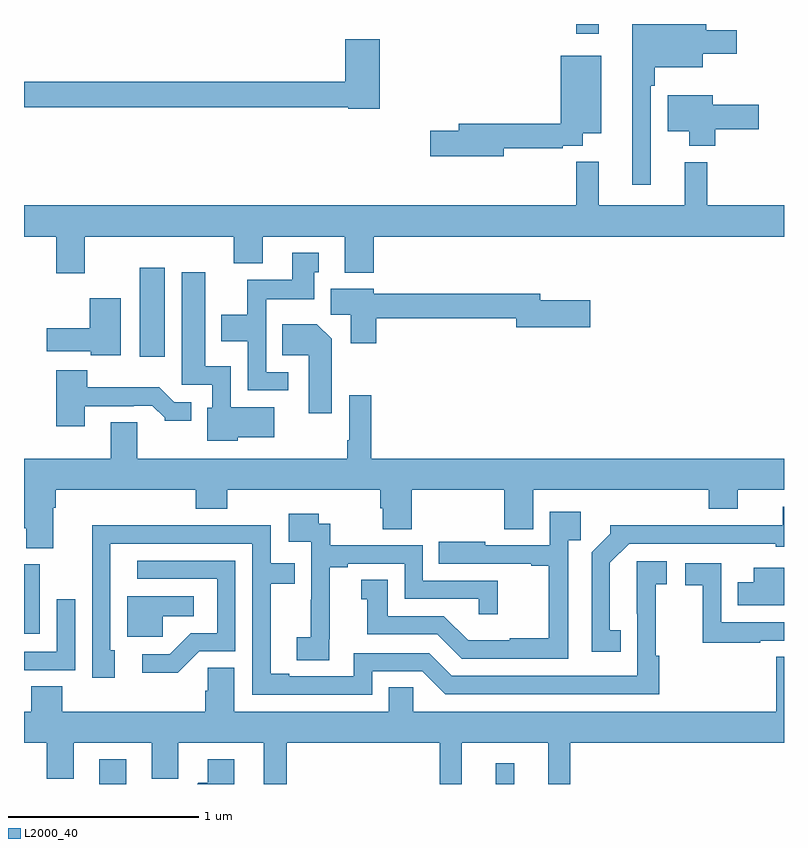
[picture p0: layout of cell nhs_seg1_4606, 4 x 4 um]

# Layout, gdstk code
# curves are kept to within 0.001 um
import gdstk
lib = gdstk.Library(unit=1e-6, precision=1e-09)
def R(c, l, rs):  # rectangles x0, y0, x1, y1
    for r in rs: c.add(gdstk.rectangle(r[:2], r[2:], *l))
def P(c, l, *ps):  # polygons
    for p in ps: c.add(gdstk.Polygon(p, *l))
L2000_40 = (2000, 40)

nhs_seg1_4606 = lib.new_cell('nhs_seg1_4606')
R(nhs_seg1_4606, L2000_40, [(361.397,534.199,361.537,534.328), (363.483,534.199,363.58,534.307), (361,534.989,361.084,535.356), (361.61,536.448,361.741,536.917), (363.907,538.149,364.024,538.199)])
P(nhs_seg1_4606, L2000_40, [(364.299,537.875),(364.319,537.875),(364.319,537.971),(364.573,537.971),(364.573,538.043),(364.75,538.043),(364.75,538.165),(364.592,538.165),(364.592,538.199),(364.202,538.199),(364.202,537.354),(364.299,537.354)],
  [(362.873,538.12),(362.69,538.12),(362.69,537.896),(361,537.896),(361,537.76),(362.706,537.76),(362.706,537.752),(362.873,537.752)],
  [(363.526,537.546),(363.836,537.546),(363.836,537.558),(363.94,537.558),(363.94,537.623),(364.039,537.623),(364.039,538.033),(363.824,538.033),(363.824,537.674),(363.287,537.674),(363.287,537.638),(363.138,537.638),(363.138,537.503),(363.526,537.503)],
  [(364.637,537.646),(364.867,537.646),(364.867,537.775),(364.624,537.775),(364.624,537.823),(364.388,537.823),(364.388,537.635),(364.502,537.635),(364.502,537.557),(364.637,537.557)],
  [(361.321,537.08),(362.105,537.08),(362.105,536.939),(362.257,536.939),(362.257,537.08),(362.687,537.08),(362.687,536.891),(362.84,536.891),(362.84,537.08),(365,537.08),(365,537.244),(364.595,537.244),(364.595,537.472),(364.478,537.472),(364.478,537.244),(364.025,537.244),(364.025,537.473),(363.907,537.473),(363.907,537.244),(361,537.244),(361,537.08),(361.169,537.08),(361.169,536.886),(361.321,536.886)],
  [(362.392,536.367),(362.274,536.367),(362.274,536.75),(362.527,536.75),(362.527,536.892),(362.551,536.892),(362.551,536.995),(362.411,536.995),(362.411,536.854),(362.176,536.854),(362.176,536.668),(362.039,536.668),(362.039,536.528),(362.178,536.528),(362.178,536.271),(362.392,536.271)],
  [(362.124,536.024),(362.317,536.024),(362.317,536.182),(362.088,536.182),(362.088,536.398),(361.954,536.398),(361.954,536.893),(361.829,536.893),(361.829,536.301),(361.992,536.301),(361.992,536.178),(361.964,536.178),(361.964,536.006),(362.124,536.006)],
  [(362.855,536.65),(363.59,536.65),(363.59,536.603),(363.979,536.603),(363.979,536.745),(363.718,536.745),(363.718,536.779),(362.842,536.779),(362.842,536.806),(362.615,536.806),(362.615,536.668),(362.72,536.668),(362.72,536.52),(362.855,536.52)],
  [(361.51,536.755),(361.346,536.755),(361.346,536.599),(361.119,536.599),(361.119,536.477),(361.35,536.477),(361.35,536.456),(361.51,536.456)],
  [(362.62,536.542),(362.542,536.62),(362.359,536.62),(362.359,536.456),(362.498,536.456),(362.498,536.151),(362.62,536.151)],
  [(361.321,536.187),(361.577,536.187),(361.577,536.19),(361.676,536.19),(361.74,536.126),(361.74,536.111),(361.879,536.111),(361.879,536.208),(361.791,536.208),(361.713,536.287),(361.334,536.287),(361.334,536.377),(361.169,536.377),(361.169,536.082),(361.321,536.082)],
  [(361.153,535.652),(361.166,535.652),(361.166,535.748),(361.904,535.748),(361.904,535.649),(362.069,535.649),(362.069,535.748),(362.876,535.748),(362.876,535.65),(362.888,535.65),(362.888,535.54),(363.041,535.54),(363.041,535.748),(363.527,535.748),(363.527,535.54),(363.679,535.54),(363.679,535.748),(364.604,535.748),(364.604,535.649),(364.756,535.649),(364.756,535.748),(365,535.748),(365,535.912),(362.828,535.912),(362.828,536.245),(362.712,536.245),(362.712,536.008),(362.7,536.008),(362.7,535.912),(361.597,535.912),(361.597,536.102),(361.457,536.102),(361.457,535.912),(361,535.912),(361,535.748),(361.001,535.748),(361.001,535.546),(361.013,535.546),(361.013,535.441),(361.153,535.441)],
  [(364.142,535.007),(364.084,535.007),(364.084,535.363),(364.185,535.464),(364.956,535.464),(364.956,535.448),(365,535.448),(365,535.659),(364.993,535.659),(364.993,535.56),(364.52,535.56),(364.52,535.562),(364.086,535.562),(364.086,535.517),(363.987,535.418),(363.987,534.894),(364.142,534.894)],
  [(363.864,535.481),(363.929,535.481),(363.929,535.633),(363.768,535.633),(363.768,535.455),(363.427,535.455),(363.427,535.474),(363.184,535.474),(363.184,535.359),(363.671,535.359),(363.671,535.347),(363.763,535.347),(363.763,534.967),(363.557,534.967),(363.557,534.955),(363.338,534.955),(363.21,535.083),(362.914,535.083),(362.914,535.274),(362.774,535.274),(362.774,535.171),(362.807,535.171),(362.807,534.987),(363.174,534.987),(363.303,534.858),(363.864,534.858)],
  [(362.606,534.961),(362.608,534.961),(362.608,535.339),(362.704,535.339),(362.704,535.359),(363.003,535.359),(363.003,535.173),(363.393,535.173),(363.393,535.092),(363.494,535.092),(363.494,535.269),(363.099,535.269),(363.099,535.455),(362.612,535.455),(362.612,535.569),(362.55,535.569),(362.55,535.621),(362.394,535.621),(362.394,535.473),(362.511,535.473),(362.511,535.169),(362.51,535.169),(362.51,534.972),(362.436,534.972),(362.436,534.85),(362.606,534.85)],
  [(362.832,534.792),(363.096,534.792),(363.216,534.672),(364.343,534.672),(364.343,534.875),(364.326,534.875),(364.326,535.251),(364.384,535.251),(364.384,535.372),(364.226,535.372),(364.227,534.768),(363.252,534.768),(363.132,534.888),(362.736,534.888),(362.736,534.765),(362.395,534.765),(362.395,534.78),(362.299,534.78),(362.299,535.254),(362.426,535.254),(362.426,535.362),(362.298,535.362),(362.298,535.56),(361.82,535.56),(361.82,535.562),(361.358,535.562),(361.359,534.759),(361.477,534.759),(361.477,534.903),(361.455,534.903),(361.455,535.464),(362.202,535.464),(362.202,534.669),(362.832,534.669)],
  [(361.923,534.897),(362.112,534.897),(362.112,535.374),(361.596,535.374),(361.596,535.278),(362.016,535.278),(362.016,534.993),(361.878,534.993),(361.767,534.882),(361.623,534.882),(361.623,534.785),(361.81,534.785)],
  [(364.874,534.954),(365,534.954),(365,535.05),(364.671,535.05),(364.671,535.362),(364.479,535.362),(364.479,535.246),(364.573,535.246),(364.573,534.942),(364.874,534.942)],
  [(365,535.336),(364.841,535.336),(364.841,535.261),(364.756,535.261),(364.756,535.139),(365,535.139)],
  [(361.731,535.082),(361.894,535.082),(361.894,535.186),(361.544,535.186),(361.544,534.975),(361.731,534.975)],
  [(361.269,535.171),(361.173,535.171),(361.173,534.894),(361,534.894),(361,534.798),(361.269,534.798)],
  [(361.121,534.227),(361.261,534.227),(361.261,534.416),(361.673,534.416),(361.673,534.226),(361.812,534.226),(361.812,534.416),(362.261,534.416),(362.261,534.199),(362.383,534.199),(362.383,534.416),(363.187,534.416),(363.187,534.199),(363.305,534.199),(363.305,534.416),(363.758,534.416),(363.758,534.199),(363.875,534.199),(363.875,534.416),(365,534.416),(365,534.869),(364.958,534.869),(364.958,534.58),(363.048,534.58),(363.048,534.707),(362.921,534.707),(362.921,534.58),(362.107,534.58),(362.107,534.812),(361.968,534.812),(361.968,534.689),(361.955,534.689),(361.955,534.58),(361.202,534.58),(361.202,534.713),(361.037,534.713),(361.037,534.58),(361,534.58),(361,534.416),(361.121,534.416)],
  [(362.107,534.328),(361.967,534.328),(361.967,534.205),(361.918,534.205),(361.912,534.199),(362.107,534.199)])

lib.write_gds('nhs_seg1_4606.gds')
